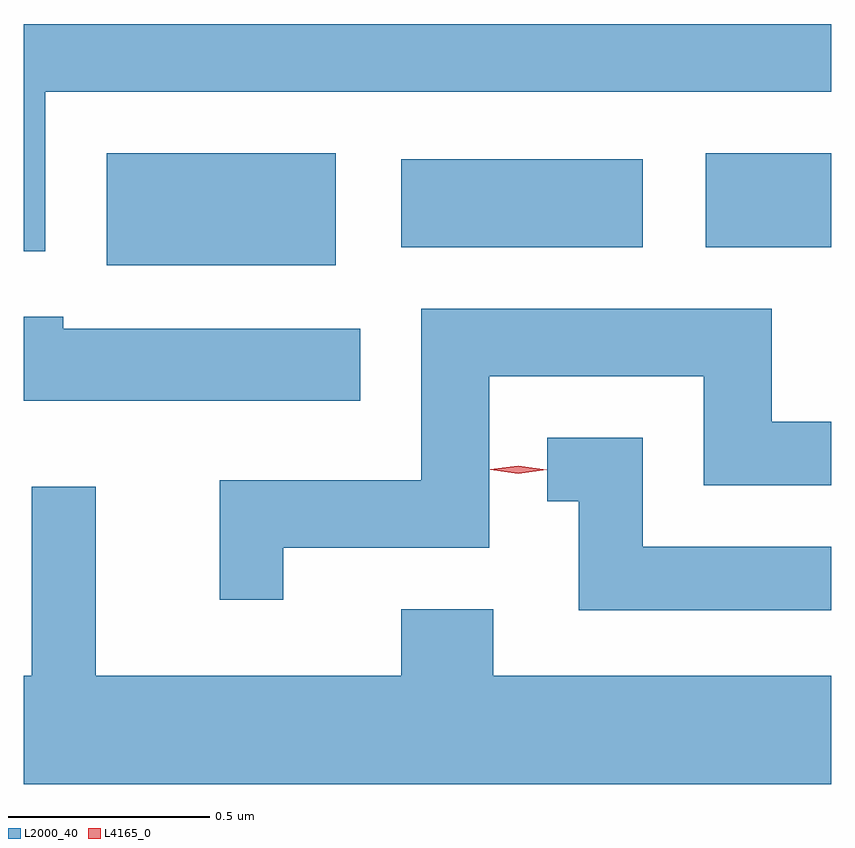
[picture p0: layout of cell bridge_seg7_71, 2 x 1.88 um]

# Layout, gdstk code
import gdstk
lib = gdstk.Library(unit=1e-6, precision=1e-09)
def R(c, l, rs):  # rectangles x0, y0, x1, y1
    for r in rs: c.add(gdstk.rectangle(r[:2], r[2:], *l))
def P(c, l, *ps):  # polygons
    for p in ps: c.add(gdstk.Polygon(p, *l))
L2000_40 = (2000, 40)
L4165_0 = (4165, 0)

bridge_seg7_71 = lib.new_cell('bridge_seg7_71')
R(bridge_seg7_71, L2000_40, [(1623.851,1742.241,1624.419,1742.519), (1624.581,1742.286,1625.179,1742.504), (1625.336,1742.286,1625.646,1742.519)])
P(bridge_seg7_71, L2000_40, [(1623.699,1742.671),(1625.646,1742.671),(1625.646,1742.839),(1623.646,1742.839),(1623.646,1742.276),(1623.699,1742.276)],
  [(1624.289,1741.541),(1624.799,1741.541),(1624.799,1741.966),(1625.331,1741.966),(1625.331,1741.696),(1625.646,1741.696),(1625.646,1741.854),(1625.499,1741.854),(1625.499,1742.134),(1624.631,1742.134),(1624.631,1741.709),(1624.131,1741.709),(1624.131,1741.413),(1624.289,1741.413)],
  [(1624.479,1742.084),(1623.744,1742.084),(1623.744,1742.114),(1623.646,1742.114),(1623.646,1741.906),(1624.479,1741.906)],
  [(1625.646,1741.544),(1625.179,1741.544),(1625.179,1741.814),(1624.943,1741.814),(1624.943,1741.656),(1625.021,1741.656),(1625.021,1741.386),(1625.646,1741.386)],
  [(1625.646,1741.224),(1624.809,1741.224),(1624.809,1741.389),(1624.581,1741.389),(1624.581,1741.224),(1623.824,1741.224),(1623.824,1741.693),(1623.666,1741.693),(1623.666,1741.224),(1623.646,1741.224),(1623.646,1740.956),(1625.646,1740.956)])
P(bridge_seg7_71, L4165_0, [(1624.871,1741.725),(1624.802,1741.735),(1624.802,1741.735),(1624.802,1741.736),(1624.871,1741.745),(1624.941,1741.735),(1624.941,1741.735),(1624.941,1741.734)])

lib.write_gds('bridge_seg7_71.gds')
